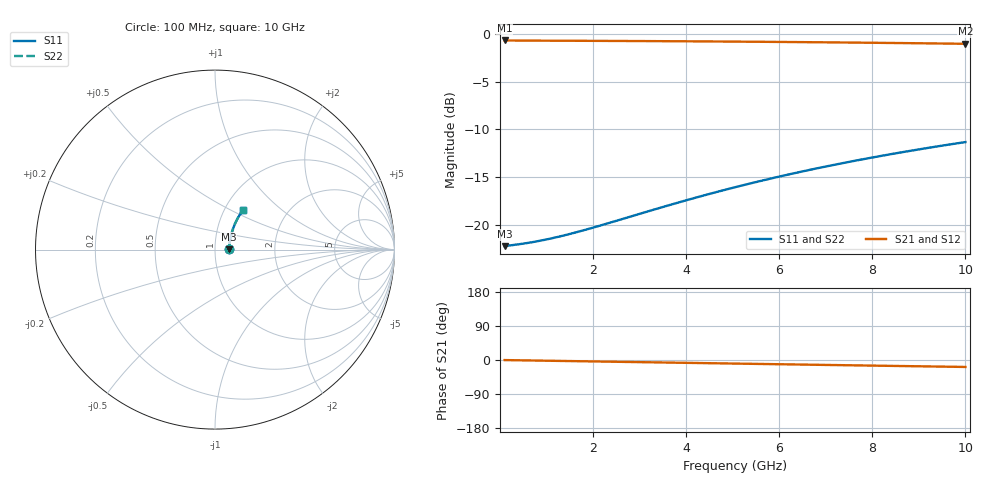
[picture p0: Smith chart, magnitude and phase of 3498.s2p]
# Hz S RI R 50.00
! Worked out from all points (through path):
!   100 points, 100 MHz to 10 GHz, reference 50 ohm
!   highest |S21| = -0.70 dB at 100 MHz (marker M1); lowest = -1.0 dB at 10 GHz (marker M2)
!   group delay of S21, straight-line fit = 5.11 ps
!   lowest |S11| = -22.2 dB at 100 MHz (marker M3), VSWR 1.17, Z = 58.4 + j0.289 ohm
!   |S11| at or under -10 dB: start of sweep to end of sweep
!   |S22| runs from -22.2 to -11.3 dB; largest |S21 - S12| = 0
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1e8  0.0773 0.00246  0.9227 -0.00304  0.9227 -0.00304  0.0773 0.00246
6e8  0.0791 0.0147  0.9209 -0.0182  0.9209 -0.0182  0.0791 0.0147
9e8  0.08 0.022  0.92 -0.0272  0.92 -0.0272  0.08 0.022
1.1e9  0.0806 0.0269  0.9194 -0.0332  0.9194 -0.0332  0.0806 0.0269
1.3e9  0.0812 0.0317  0.9188 -0.0392  0.9188 -0.0392  0.0812 0.0317
1.5e9  0.0818 0.0366  0.9181 -0.0452  0.9181 -0.0452  0.0818 0.0366
1.8e9  0.0829 0.0438  0.9171 -0.0542  0.9171 -0.0542  0.0829 0.0438
2.3e9  0.0849 0.0558  0.915 -0.0691  0.915 -0.0691  0.0849 0.0558
3.4e9  0.0905 0.0819  0.9093 -0.1016  0.9093 -0.1016  0.0905 0.0819
3.9e9  0.0935 0.0936  0.9062 -0.1161  0.9062 -0.1161  0.0935 0.0936
4.3e9  0.0962 0.1028  0.9034 -0.1277  0.9034 -0.1277  0.0962 0.1028
4.7e9  0.0992 0.112  0.9004 -0.1391  0.9004 -0.1391  0.0992 0.112
5.1e9  0.1023 0.121  0.8972 -0.1505  0.8972 -0.1505  0.1023 0.121
5.5e9  0.1057 0.1299  0.8937 -0.1618  0.8937 -0.1618  0.1057 0.1299
5.9e9  0.1093 0.1388  0.8901 -0.1729  0.8901 -0.1729  0.1093 0.1388
6.3e9  0.1131 0.1474  0.8862 -0.1839  0.8862 -0.1839  0.1131 0.1474
6.7e9  0.1171 0.156  0.8821 -0.1948  0.8821 -0.1948  0.1171 0.156
7.5e9  0.1256 0.1727  0.8734 -0.2162  0.8734 -0.2162  0.1256 0.1727
7.9e9  0.1302 0.1809  0.8687 -0.2267  0.8687 -0.2267  0.1302 0.1809
8.4e9  0.1362 0.1909  0.8626 -0.2395  0.8626 -0.2395  0.1362 0.1909
9.2e9  0.1463 0.2063  0.8522 -0.2596  0.8522 -0.2596  0.1463 0.2063
1e10  0.157 0.2211  0.8412 -0.2791  0.8412 -0.2791  0.157 0.2211
